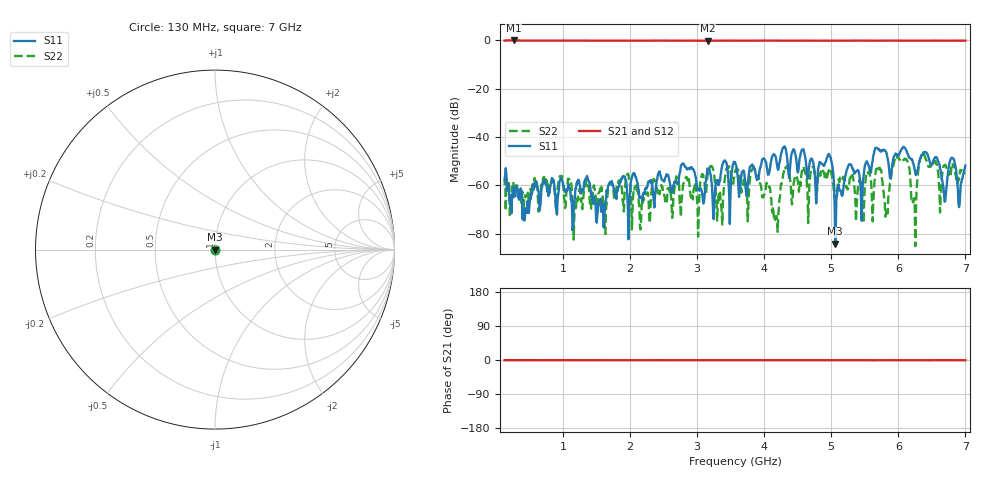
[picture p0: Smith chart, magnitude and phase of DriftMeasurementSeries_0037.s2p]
# Hz S RI R 50.000000
! Metas.Vna.Tools, 2.8.8664.20301
! Metas.Vna.Data, 2.8.8664.20285
! Created: UTC 2024.02.11 10:08:18
! FREQ  re:S1,1  im:S1,1  re:S2,1  im:S2,1  re:S1,2  im:S1,2  re:S2,2  im:S2,2
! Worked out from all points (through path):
!   801 points, 130 MHz to 7 GHz, reference 50 ohm
!   highest |S21| = -0.03 dB at 267.4 MHz (marker M1); lowest = -0.2 dB at 3.161 GHz (marker M2)
!   lowest |S11| = -84.2 dB at 5.059 GHz (marker M3), VSWR 1.00, Z = 50 + j0.00553 ohm
!   |S11| at or under -10 dB: start of sweep to end of sweep
!   |S22| runs from -85.2 to -46.7 dB; largest |S21 - S12| = 0.02
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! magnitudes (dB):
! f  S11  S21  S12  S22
! 130 MHz  -57.9  -0.1  0.0  -59.9
! 267.4 MHz  -61.1  0.0  0.0  -61.2
! 1.281 GHz  -61.7  -0.1  0.0  -69.2
! 1.607 GHz  -77.4  -0.1  0.0  -69.1
! 2.423 GHz  -54.9  -0.1  0.0  -63.9
! 3.161 GHz  -53.1  -0.2  0.0  -55.1
! 3.342 GHz  -58.1  -0.1  0.0  -63.1
! 3.565 GHz  -50.3  -0.1  0.0  -54.3
! 3.857 GHz  -53.5  -0.1  0.0  -53.1
! 4.175 GHz  -48.7  -0.1  0.0  -72.8
! 4.321 GHz  -44.8  -0.2  0.0  -53.0
! 4.716 GHz  -49.2  -0.1  0.0  -52.4
! 4.973 GHz  -47.5  -0.1  0.0  -53.8
! 5.059 GHz  -84.2  -0.1  0.0  -65.8
! 5.703 GHz  -45.1  -0.1  0.0  -53.3
! 5.858 GHz  -52.0  -0.1  0.0  -63.7
! 5.978 GHz  -47.4  -0.1  0.0  -48.6
! 6.133 GHz  -46.5  -0.1  0.0  -50.0
! 6.227 GHz  -51.2  -0.1  0.0  -67.0
! 6.365 GHz  -47.1  -0.1  0.0  -47.2
! 6.691 GHz  -66.8  -0.1  0.0  -51.8
! 7 GHz  -51.8  -0.1  0.0  -54.5
